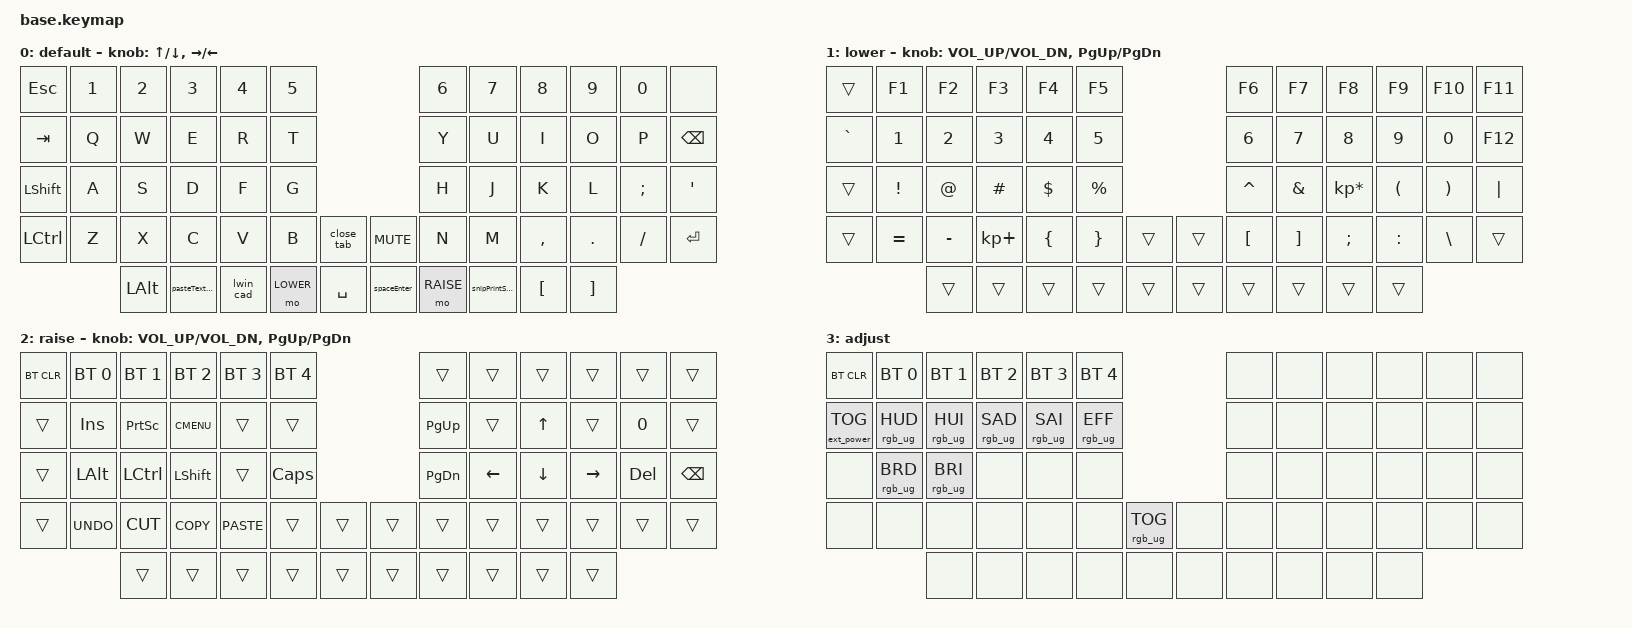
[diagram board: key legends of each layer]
/*
 * Copyright (c) 2020 The ZMK Contributors
 *
 * SPDX-License-Identifier: MIT
 */

#include <behaviors.dtsi>

// Enable mouse 启用鼠标

#include <dt-bindings/zmk/mouse.h>
#include <dt-bindings/zmk/mouse_settings.h>

// Enable Mouse Keys 启用鼠标键

#include "includes/mouse_keys.dtsi"
#include <dt-bindings/zmk/bt.h>
#include <dt-bindings/zmk/ext_power.h>
#include <dt-bindings/zmk/keys.h>
#include <dt-bindings/zmk/rgb.h>

#define BASE 0
#define LOWER 1
#define RAISE 2
#define ADJUST 3
#define MOUSE_KEYS 11
#define MOUSE_TP 12
#define MOUSE_SET 13

// ZMK includes
#include <behaviors.dtsi>
#include <dt-bindings/zmk/keys.h>
#include <dt-bindings/zmk/bt.h>
#include <dt-bindings/zmk/rgb.h>
#include <dt-bindings/zmk/ext_power.h>

// Personal includes
#ifdef HAS_MOUSE_KEYS
     #include "includes/mouse_keys.dtsi"
#endif

#ifdef HAS_MOUSE_TP
     #include "includes/mouse_tp.dtsi"
#endif

#include "includes/custom_keycodes.dtsi"
#include "includes/settings.dtsi"
//#include "includes/settings_pd.dtsi"
#include "includes/conditional_layers.dtsi"
#include "includes/macros.dtsi"
#include "includes/combos.dtsi"
#include "includes/behaviours_homerow_mods.dtsi"
#include "includes/behaviours_mod_morph.dtsi"
#include "includes/behaviours_other.dtsi"


/ {
    behaviors {
        // Mod Morph
        // RGB

        rgb_bri_sat_inc: rgb_bri_sat_inc {
            compatible = "zmk,behavior-mod-morph";
            label = "RGB_BRIGHTNESS_SATURATION_INCREASE";
            #binding-cells = <0>;
            bindings = <&rgb_ug RGB_SAI>, <&rgb_ug RGB_BRI>;

            mods = <(MOD_LALT|MOD_RALT)>;
        };

        rgb_bri_sat_dec: rgb_bri_sat_dec {
            compatible = "zmk,behavior-mod-morph";
            label = "RGB_BRIGHTNESS_SATURATION_DECREASE";
            #binding-cells = <0>;
            bindings = <&rgb_ug RGB_SAD>, <&rgb_ug RGB_BRD>;

            mods = <(MOD_LALT|MOD_RALT)>;
        };

        rgb_inc: rgb_inc {
            compatible = "zmk,behavior-mod-morph";
            label = "RGB_INCREASE";
            #binding-cells = <0>;
            bindings = <&rgb_ug RGB_HUI>, <&rgb_bri_sat_inc>;

            mods = <(MOD_LSFT|MOD_RSFT|MOD_LCTL|MOD_RCTL)>;
        };

        rgb_dec: rgb_dec {
            compatible = "zmk,behavior-mod-morph";
            label = "RGB_DECREASE";
            #binding-cells = <0>;
            bindings = <&rgb_ug RGB_HUD>, <&rgb_bri_sat_dec>;

            mods = <(MOD_LSFT|MOD_RSFT)>;
        };

        // System Functions  

        ret_menu: ret_menu {
            compatible = "zmk,behavior-mod-morph";
            label = "RETURN_MENU";
            #binding-cells = <0>;
            bindings = <&kp RET>, <&kp K_APPLICATION>;

            mods = <(MOD_LSFT|MOD_RSFT)>;
        };

        // Special Characters - Capitalizations

        fada_a: fada_a {
            compatible = "zmk,behavior-mod-morph";
            label = "FADA_A";
            #binding-cells = <0>;
            bindings = <&smfada_a>, <&lfada_a>;

            mods = <(MOD_LSFT|MOD_RSFT)>;
        };

        ogonek_a: ogonek_a {
            compatible = "zmk,behavior-mod-morph";
            label = "OGONEK_A";
            #binding-cells = <0>;
            bindings = <&smogo_a>, <&logo_a>;

            mods = <(MOD_LSFT|MOD_RSFT)>;
        };

        umlaut_a: umlaut_a {
            compatible = "zmk,behavior-mod-morph";
            label = "UMLAUT_A";
            #binding-cells = <0>;
            bindings = <&smumlaut_a>, <&lumlaut_a>;

            mods = <(MOD_LSFT|MOD_RSFT)>;
        };

        fada_e: fada_e {
            compatible = "zmk,behavior-mod-morph";
            label = "FADA_E";
            #binding-cells = <0>;
            bindings = <&smfada_e>, <&lfada_e>;

            mods = <(MOD_LSFT|MOD_RSFT)>;
        };

        ogonek_e: ogonek_e {
            compatible = "zmk,behavior-mod-morph";
            label = "OGONEK_E";
            #binding-cells = <0>;
            bindings = <&smogo_e>, <&logo_e>;

            mods = <(MOD_LSFT|MOD_RSFT)>;
        };

        fada_i: fada_i {
            compatible = "zmk,behavior-mod-morph";
            label = "FADA_I";
            #binding-cells = <0>;
            bindings = <&smfada_i>, <&lfada_i>;

            mods = <(MOD_LSFT|MOD_RSFT)>;
        };

        fada_o: fada_o {
            compatible = "zmk,behavior-mod-morph";
            label = "FADA_O";
            #binding-cells = <0>;
            bindings = <&smfada_o>, <&lfada_o>;

            mods = <(MOD_LSFT|MOD_RSFT)>;
        };

        umlaut_o: umlaut_o {
            compatible = "zmk,behavior-mod-morph";
            label = "UMLAUT_O";
            #binding-cells = <0>;
            bindings = <&smumlaut_o>, <&lumlaut_o>;

            mods = <(MOD_LSFT|MOD_RSFT)>;
        };

        fada_u: fada_u {
            compatible = "zmk,behavior-mod-morph";
            label = "FADA_U";
            #binding-cells = <0>;
            bindings = <&smfada_u>, <&lfada_u>;

            mods = <(MOD_LSFT|MOD_RSFT)>;
        };

        umlaut_u: umlaut_u {
            compatible = "zmk,behavior-mod-morph";
            label = "UMLAUT_U";
            #binding-cells = <0>;
            bindings = <&smumlaut_u>, <&lumlaut_u>;

            mods = <(MOD_LSFT|MOD_RSFT)>;
        };

        acute_c: acute_c {
            compatible = "zmk,behavior-mod-morph";
            label = "ACUTE_C";
            #binding-cells = <0>;
            bindings = <&smacute_c>, <&lacute_c>;

            mods = <(MOD_LSFT|MOD_RSFT)>;
        };

        dark_l: dark_l {
            compatible = "zmk,behavior-mod-morph";
            label = "DARK_L";
            #binding-cells = <0>;
            bindings = <&smdark_l>, <&ldark_l>;

            mods = <(MOD_LSFT|MOD_RSFT)>;
        };

        acute_n: acute_n {
            compatible = "zmk,behavior-mod-morph";
            label = "ACUTE_N";
            #binding-cells = <0>;
            bindings = <&smacute_n>, <&lacute_n>;

            mods = <(MOD_LSFT|MOD_RSFT)>;
        };

        tilde_n: tilde_n {
            compatible = "zmk,behavior-mod-morph";
            label = "TILDE_N";
            #binding-cells = <0>;
            bindings = <&smtil_n>, <&ltil_n>;

            mods = <(MOD_LSFT|MOD_RSFT)>;
        };

        acute_s: acute_s {
            compatible = "zmk,behavior-mod-morph";
            label = "ACUTE_S";
            #binding-cells = <0>;
            bindings = <&smacute_s>, <&lacute_s>;

            mods = <(MOD_LSFT|MOD_RSFT)>;
        };

        acute_z: acute_z {
            compatible = "zmk,behavior-mod-morph";
            label = "ACUTE_Z";
            #binding-cells = <0>;
            bindings = <&smacute_z>, <&lacute_z>;

            mods = <(MOD_LSFT|MOD_RSFT)>;
        };

        dot_z: dot_z {
            compatible = "zmk,behavior-mod-morph";
            label = "DOT_Z";
            #binding-cells = <0>;
            bindings = <&smdot_z>, <&ldot_z>;

            mods = <(MOD_LSFT|MOD_RSFT)>;
        };

        // Special Characters - Other

        lb_euro: lb_euro {
            compatible = "zmk,behavior-mod-morph";
            label = "POUND_EURO";
            #binding-cells = <0>;
            bindings = <&uk_pnd>, <&euro>;

            mods = <(MOD_LSFT|MOD_RSFT)>;
        };

        // Encoder

        rgb_encoder: rgb_encoder {
            compatible = "zmk,behavior-sensor-rotate";
            label = "RGB_ENCODER";
            #sensor-binding-cells = <0>;
            bindings = <&rgb_inc>, <&rgb_dec>;
        };

        tab_browser: tab_browser {
            compatible = "zmk,behavior-sensor-rotate";
            label = "TAB_BROWSER";
            #sensor-binding-cells = <0>;
            bindings = <&tab_left>, <&tab_right>;
        };

        // Tap Dance

        cc: cc {
            compatible = "zmk,behavior-tap-dance";
            label = "COLOR_CYCLE";
            #binding-cells = <0>;
            tapping-term-ms = <200>;
            bindings =
                <&rgb_ug RGB_COLOR_HSB(0,100,20)>,
                <&rgb_ug RGB_COLOR_HSB(10,100,20)>,
                <&rgb_ug RGB_COLOR_HSB(35,100,20)>,
                <&rgb_ug RGB_COLOR_HSB(120,100,20)>,
                <&rgb_ug RGB_COLOR_HSB(240,100,20)>,
                <&rgb_ug RGB_COLOR_HSB(285,100,20)>;
        };

        clcw: clcw {
            compatible = "zmk,behavior-tap-dance";
            label = "CAPS_LOCK_CAPS_WORD";
            #binding-cells = <0>;
            tapping-term-ms = <200>;
            bindings = <&kp CLCK>, <&caps_word>;
        };

        lscw: lscw {
            compatible = "zmk,behavior-tap-dance";
            label = "LEFT_SHIFT_CAPS_WORD";
            #binding-cells = <0>;
            tapping-term-ms = <200>;
            bindings = <&kp LSHFT>, <&caps_word>;
        };

        rscw: rscw {
            compatible = "zmk,behavior-tap-dance";
            label = "RIGHT_SHIFT_CAPS_WORD";
            #binding-cells = <0>;
            tapping-term-ms = <200>;
            bindings = <&kp RSHFT>, <&caps_word>;
        };

        stm: stm {
            compatible = "zmk,behavior-tap-dance";
            label = "SHIFT_TASK_MANAGER";
            #binding-cells = <0>;
            tapping-term-ms = <200>;
            bindings = <&kp LSHFT>, <&tm>;
        };

        pwr: pwr {
            compatible = "zmk,behavior-tap-dance";
            label = "POWER_COMMANDS";
            #binding-cells = <0>;
            tapping-term-ms = <200>;
            bindings = <&kp RSHFT>, <&slp>, <&rst>, <&off>;
        };

        td_btr: td_btr {
            compatible = "zmk,behavior-tap-dance";
            label = "TAP_DANCE_BLUE_TOOTH_RELEASE";
            #binding-cells = <0>;
            tapping-term-ms = <200>;
            bindings = <&kp ESC>, <&bt BT_CLR>;
        };

        pscode: pscode {
            compatible = "zmk,behavior-tap-dance";
            label = "POWER_SHELL_CODE";
            #binding-cells = <0>;
            tapping-term-ms = <200>;
            bindings = <&kp F5>, <&kp F8>;
        };

        td_ll_l3: td_ll_l3 {
            compatible = "zmk,behavior-tap-dance";
            label = "TAP_LEFT_LAYER_LAYER_3";
            #binding-cells = <0>;
            tapping-term-ms = <200>;
            bindings = <&mo 1>, <&sl 3>;
        };

        td_rl_l3: td_rl_l3 {
            compatible = "zmk,behavior-tap-dance";
            label = "TAP_RIGHT_LAYER_LAYER_3";
            #binding-cells = <0>;
            tapping-term-ms = <200>;
            bindings = <&mo 2>, <&sl 3>;
        };

        td_sp_a: td_sp_a {
            compatible = "zmk,behavior-tap-dance";
            label = "TAP_SPECIAL_A";
            #binding-cells = <0>;
            tapping-term-ms = <250>;
            bindings = <&fada_a>, <&ogonek_a>, <&umlaut_a>;
        };

        td_sp_e: td_sp_e {
            compatible = "zmk,behavior-tap-dance";
            label = "TAP_SPECIAL_E";
            #binding-cells = <0>;
            tapping-term-ms = <250>;
            bindings = <&fada_e>, <&ogonek_e>;
        };

        td_sp_o: td_sp_o {
            compatible = "zmk,behavior-tap-dance";
            label = "TAP_SPECIAL_O";
            #binding-cells = <0>;
            tapping-term-ms = <250>;
            bindings = <&fada_o>, <&umlaut_o>;
        };

        td_sp_u: td_sp_u {
            compatible = "zmk,behavior-tap-dance";
            label = "TAP_SPECIAL_U";
            #binding-cells = <0>;
            tapping-term-ms = <250>;
            bindings = <&fada_u>, <&umlaut_u>;
        };

        td_sp_n: td_sp_n {
            compatible = "zmk,behavior-tap-dance";
            label = "TAP_SPECIAL_N";
            #binding-cells = <0>;
            tapping-term-ms = <250>;
            bindings = <&acute_n>, <&tilde_n>;
        };

        td_sp_s: td_sp_s {
            compatible = "zmk,behavior-tap-dance";
            label = "TAP_SPECIAL_S";
            #binding-cells = <0>;
            tapping-term-ms = <200>;
            bindings = <&acute_s>, <&essette_s>;
        };

        td_sp_z: td_sp_z {
            compatible = "zmk,behavior-tap-dance";
            label = "TAP_SPECIAL_Z";
            #binding-cells = <0>;
            tapping-term-ms = <200>;
            bindings = <&acute_z>, <&dot_z>;
        };

        td_lt: td_lt {
            compatible = "zmk,behavior-tap-dance";
            label = "LESS_THEN_DOUBLE_LEFT_MARKS";
            #binding-cells = <0>;
            tapping-term-ms = <200>;
            bindings = <&kp LT>, <&dbl_left>;
        };

        td_gt: td_gt {
            compatible = "zmk,behavior-tap-dance";
            label = "GREATER_THAN_DOUBLE_RIGHT_MARKS";
            #binding-cells = <0>;
            tapping-term-ms = <200>;
            bindings = <&kp GT>, <&dbl_right>;
        };

        lwin_cad: lwin_cad {
            compatible = "zmk,behavior-tap-dance";
            label = "LEFT_WINDOWS_CTRL_ALT_DEL";
            #binding-cells = <0>;
            tapping-term-ms = <200>;
            bindings = <&kp LGUI>, <&cad>;
        };

        pasteTextWordPower: pasteTextWordPower {
            compatible = "zmk,behavior-tap-dance";
            label = "PASTETEXTWORDPOWER";
            #binding-cells = <0>;
            tapping-term-ms = <200>;
            bindings = <&kp RS(RC(V))>, <&pastePowerpoint>;
        };

        spaceEnter: spaceEnter {
            compatible = "zmk,behavior-tap-dance";
            label = "SPACEENTER";
            #binding-cells = <0>;
            tapping-term-ms = <200>;
            bindings = <&kp SPACE>, <&kp ENTER>;
        };

        snipPrintScreenWindows: snipPrintScreenWindows {
            compatible = "zmk,behavior-tap-dance";
            label = "SNIPPRINTSCREENWINDOWS";
            #binding-cells = <0>;
            tapping-term-ms = <200>;
            bindings = <&snipScreen>, <&kp LA(PRINTSCREEN)>;
        };
    };
};

/ {
    left_encoder: encoder_left {
        compatible = "alps,ec11";
        label = "LEFT_ENCODER";
        a-gpios = <&pro_micro 21 (GPIO_ACTIVE_HIGH | GPIO_PULL_UP)>;
        b-gpios = <&pro_micro 20 (GPIO_ACTIVE_HIGH | GPIO_PULL_UP)>;
        steps = <60>;
    };

    right_encoder: encoder_right {
        compatible = "alps,ec11";
        label = "RIGHT_ENCODER";
        a-gpios = <&pro_micro 21 (GPIO_ACTIVE_HIGH | GPIO_PULL_UP)>;
        b-gpios = <&pro_micro 20 (GPIO_ACTIVE_HIGH | GPIO_PULL_UP)>;
        steps = <60>;
    };

    sensors {
        compatible = "zmk,keymap-sensors";
        sensors = <&left_encoder &right_encoder>;
        triggers-per-rotation = <30>;
    };
};

/ {
    macros {
        // System and Power

        tm: tm {
            label = "TASK_MANAGER";
            compatible = "zmk,behavior-macro";
            #binding-cells = <0>;
            bindings =
                <&macro_press>,
                <&kp LCTRL &kp LSHFT>,
                <&macro_tap>,
                <&kp ESC>,
                <&macro_release>,
                <&kp LCTRL &kp LSHFT &kp RCTRL &kp K_SCROLL_DOWN &kp RCTRL &kp K_SCROLL_UP>;
        };

        cad: cad {
            label = "CTRL_ALT_DEL";
            compatible = "zmk,behavior-macro";
            #binding-cells = <0>;
            bindings =
                <&macro_press>,
                <&kp LCTRL &kp LALT &kp DEL>,
                <&macro_release>,
                <&kp LCTRL &kp LALT &kp DEL>;
        };

        slp: slp {
            label = "SLEEP";
            compatible = "zmk,behavior-macro";
            #binding-cells = <0>;
            bindings =
                <&macro_press>,
                <&kp LGUI>,
                <&macro_tap>,
                <&kp X>,
                <&macro_release>,
                <&kp LGUI>,
                <&macro_tap>,
                <&kp U &kp S>;
        };

        rst: rst {
            label = "RESTART";
            compatible = "zmk,behavior-macro";
            #binding-cells = <0>;
            bindings =
                <&macro_press>,
                <&kp LGUI>,
                <&macro_tap>,
                <&kp X>,
                <&macro_release>,
                <&kp LGUI>,
                <&macro_tap>,
                <&kp U &kp R>;
        };

        off: off {
            label = "SHUTDOWN";
            compatible = "zmk,behavior-macro";
            #binding-cells = <0>;
            bindings =
                <&macro_press>,
                <&kp LGUI>,
                <&macro_tap>,
                <&kp X>,
                <&macro_release>,
                <&kp LGUI>,
                <&macro_tap>,
                <&kp U &kp U>;
        };

        // Microphones

        teams_mute: teams_mute {
            label = "TEAMS_MUTE";
            compatible = "zmk,behavior-macro";
            #binding-cells = <0>;
            tap-ms = <0>;
            wait-ms = <0>;
            bindings =
                <&macro_tap>,
                <&bt BT_SEL 1>,
                <&macro_wait_time 100>,
                <&macro_press>,
                <&kp LGUI>,
                <&macro_tap>,
                <&kp N3>,
                <&macro_release>,
                <&kp LGUI>,
                <&macro_wait_time 50>,
                <&macro_press>,
                <&kp LCTRL &kp LSHFT>,
                <&macro_tap>,
                <&kp M>,
                <&macro_release>,
                <&kp LCTRL &kp LSHFT>;
        };

        // Browser Controls

        tab_right: tab_right {
            label = "TAB_RIGHT";
            compatible = "zmk,behavior-macro";
            #binding-cells = <0>;
            wait-ms = <0>;
            tap-ms = <0>;
            bindings =
                <&macro_press>,
                <&kp LCTRL>,
                <&macro_tap>,
                <&kp TAB>,
                <&macro_release>,
                <&kp LCTRL>;
        };

        tab_left: tab_left {
            label = "TAB_LEFT";
            compatible = "zmk,behavior-macro";
            #binding-cells = <0>;
            wait-ms = <0>;
            tap-ms = <0>;
            bindings =
                <&macro_press>,
                <&kp LCTRL &kp LSHFT>,
                <&macro_tap>,
                <&kp TAB>,
                <&macro_release>,
                <&kp LCTRL &kp LSHFT>;
        };

        close_tab: close_tab {
            label = "CLOSE_TAB";
            compatible = "zmk,behavior-macro";
            #binding-cells = <0>;
            wait-ms = <0>;
            tap-ms = <0>;
            bindings =
                <&macro_press>,
                <&kp LCTRL>,
                <&macro_tap>,
                <&kp W>,
                <&macro_release>,
                <&kp LCTRL>;
        };

        //Unicode Special Characters
        //Need regkey HKEY_CURRENT_USER\Control Panel\Input Method, REG_SZ EnableHexNumpad = 1
        //Symbols       

        smfada_a: smfada_a {
            label = "SMALL_FADA_A";
            compatible = "zmk,behavior-macro";
            #binding-cells = <0>;
            tap-ms = <0>;
            wait-ms = <0>;
            bindings =
                <&macro_press>,
                <&kp LALT>,
                <&macro_tap>,
                <&kp KP_PLUS &kp KP_N0 &kp KP_N0 &kp E &kp KP_N1>,
                <&macro_release>,
                <&kp LALT>;
        };

        lfada_a: lfada_a {
            label = "LARGE_FADA_A";
            compatible = "zmk,behavior-macro";
            #binding-cells = <0>;
            tap-ms = <0>;
            wait-ms = <0>;
            bindings =
                <&macro_press>,
                <&kp LALT>,
                <&macro_tap>,
                <&kp KP_PLUS &kp KP_N0 &kp KP_N0 &kp C &kp KP_N1>,
                <&macro_release>,
                <&kp LALT>;
        };

        smumlaut_a: smumlaut_a {
            label = "SMALL_UMLAUT_A";
            compatible = "zmk,behavior-macro";
            #binding-cells = <0>;
            tap-ms = <0>;
            wait-ms = <0>;
            bindings =
                <&macro_press>,
                <&kp LALT>,
                <&macro_tap>,
                <&kp KP_PLUS &kp KP_N0 &kp KP_N0 &kp E &kp KP_N4>,
                <&macro_release>,
                <&kp LALT>;
        };

        lumlaut_a: lumlaut_a {
            label = "LARGE_UMLAUT_A";
            compatible = "zmk,behavior-macro";
            #binding-cells = <0>;
            tap-ms = <0>;
            wait-ms = <0>;
            bindings =
                <&macro_press>,
                <&kp LALT>,
                <&macro_tap>,
                <&kp KP_PLUS &kp KP_N0 &kp KP_N0 &kp C &kp KP_N4>,
                <&macro_release>,
                <&kp LALT>;
        };

        smlat_ae: smlat_ae {
            label = "SMALL_LATIN_AE";
            compatible = "zmk,behavior-macro";
            #binding-cells = <0>;
            tap-ms = <0>;
            wait-ms = <0>;
            bindings =
                <&macro_press>,
                <&kp LALT>,
                <&macro_tap>,
                <&kp KP_PLUS &kp KP_N0 &kp KP_N0 &kp E &kp KP_N6>,
                <&macro_release>,
                <&kp LALT>;
        };

        lglat_ae: lglat_ae {
            label = "LARGE_LATIN_AE";
            compatible = "zmk,behavior-macro";
            #binding-cells = <0>;
            tap-ms = <0>;
            wait-ms = <0>;
            bindings =
                <&macro_press>,
                <&kp LALT>,
                <&macro_tap>,
                <&kp KP_PLUS &kp KP_N0 &kp KP_N0 &kp C &kp KP_N6>,
                <&macro_release>,
                <&kp LALT>;
        };

        smfada_e: smfada_e {
            label = "SMALL_FADA_E";
            compatible = "zmk,behavior-macro";
            #binding-cells = <0>;
            tap-ms = <0>;
            wait-ms = <0>;
            bindings =
                <&macro_press>,
                <&kp LALT>,
                <&macro_tap>,
                <&kp KP_PLUS &kp KP_N0 &kp KP_N0 &kp E &kp KP_N9>,
                <&macro_release>,
                <&kp LALT>;
        };

        lfada_e: lfada_e {
            label = "LARGE_FADA_E";
            compatible = "zmk,behavior-macro";
            #binding-cells = <0>;
            tap-ms = <0>;
            wait-ms = <0>;
            bindings =
                <&macro_press>,
                <&kp LALT>,
                <&macro_tap>,
                <&kp KP_PLUS &kp KP_N0 &kp KP_N0 &kp C &kp KP_N9>,
                <&macro_release>,
                <&kp LALT>;
        };

        smfada_i: smfada_i {
            label = "SMALL_FADA_I";
            compatible = "zmk,behavior-macro";
            #binding-cells = <0>;
            tap-ms = <0>;
            wait-ms = <0>;
            bindings =
                <&macro_press>,
                <&kp LALT>,
                <&macro_tap>,
                <&kp KP_PLUS &kp KP_N0 &kp KP_N0 &kp E &kp D>,
                <&macro_release>,
                <&kp LALT>;
        };

        lfada_i: lfada_i {
            label = "LARGE_FADA_I";
            compatible = "zmk,behavior-macro";
            #binding-cells = <0>;
            tap-ms = <0>;
            wait-ms = <0>;
            bindings =
                <&macro_press>,
                <&kp LALT>,
                <&macro_tap>,
                <&kp KP_PLUS &kp KP_N0 &kp KP_N0 &kp C &kp D>,
                <&macro_release>,
                <&kp LALT>;
        };

        smfada_o: smfada_o {
            label = "SMALL_FADA_O";
            compatible = "zmk,behavior-macro";
            #binding-cells = <0>;
            tap-ms = <0>;
            wait-ms = <0>;
            bindings =
                <&macro_press>,
                <&kp LALT>,
                <&macro_tap>,
                <&kp KP_PLUS &kp KP_N0 &kp KP_N0 &kp F &kp KP_N3>,
                <&macro_release>,
                <&kp LALT>;
        };

        lfada_o: lfada_o {
            label = "LARGE_FADA_O";
            compatible = "zmk,behavior-macro";
            #binding-cells = <0>;
            tap-ms = <0>;
            wait-ms = <0>;
            bindings =
                <&macro_press>,
                <&kp LALT>,
                <&macro_tap>,
                <&kp KP_PLUS &kp KP_N0 &kp KP_N0 &kp D &kp KP_N3>,
                <&macro_release>,
                <&kp LALT>;
        };

        smumlaut_o: smumlaut_o {
            label = "SMALL_UMLAUT_O";
            compatible = "zmk,behavior-macro";
            #binding-cells = <0>;
            tap-ms = <0>;
            wait-ms = <0>;
            bindings =
                <&macro_press>,
                <&kp LALT>,
                <&macro_tap>,
                <&kp KP_PLUS &kp KP_N0 &kp KP_N0 &kp F &kp KP_N6>,
                <&macro_release>,
                <&kp LALT>;
        };

        lumlaut_o: lumlaut_o {
            label = "LARGE_UMLAUT_O";
            compatible = "zmk,behavior-macro";
            #binding-cells = <0>;
            tap-ms = <0>;
            wait-ms = <0>;
            bindings =
                <&macro_press>,
                <&kp LALT>,
                <&macro_tap>,
                <&kp KP_PLUS &kp KP_N0 &kp KP_N0 &kp D &kp KP_N6>,
                <&macro_release>,
                <&kp LALT>;
        };

        smfada_u: smfada_u {
            label = "SMALL_FADA_U";
            compatible = "zmk,behavior-macro";
            #binding-cells = <0>;
            tap-ms = <0>;
            wait-ms = <0>;
            bindings =
                <&macro_press>,
                <&kp LALT>,
                <&macro_tap>,
                <&kp KP_PLUS &kp KP_N0 &kp KP_N0 &kp F &kp A>,
                <&macro_release>,
                <&kp LALT>;
        };

        lfada_u: lfada_u {
            label = "LARGE_FADA_U";
            compatible = "zmk,behavior-macro";
            #binding-cells = <0>;
            tap-ms = <0>;
            wait-ms = <0>;
            bindings =
                <&macro_press>,
                <&kp LALT>,
                <&macro_tap>,
                <&kp KP_PLUS &kp KP_N0 &kp KP_N0 &kp D &kp A>,
                <&macro_release>,
                <&kp LALT>;
        };

        smumlaut_u: smumlaut_u {
            label = "SMALL_UMLAUT_U";
            compatible = "zmk,behavior-macro";
            #binding-cells = <0>;
            tap-ms = <0>;
            wait-ms = <0>;
            bindings =
                <&macro_press>,
                <&kp LALT>,
                <&macro_tap>,
                <&kp KP_PLUS &kp KP_N0 &kp KP_N0 &kp F &kp C>,
                <&macro_release>,
                <&kp LALT>;
        };

        lumlaut_u: lumlaut_u {
            label = "LARGE_UMLAUT_U";
            compatible = "zmk,behavior-macro";
            #binding-cells = <0>;
            tap-ms = <0>;
            wait-ms = <0>;
            bindings =
                <&macro_press>,
                <&kp LALT>,
                <&macro_tap>,
                <&kp KP_PLUS &kp KP_N0 &kp KP_N0 &kp D &kp C>,
                <&macro_release>,
                <&kp LALT>;
        };

        smtil_n: smtil_n {
            label = "SMALL_TILDE_N";
            compatible = "zmk,behavior-macro";
            #binding-cells = <0>;
            tap-ms = <0>;
            wait-ms = <0>;
            bindings =
                <&macro_press>,
                <&kp LALT>,
                <&macro_tap>,
                <&kp KP_PLUS &kp KP_N0 &kp KP_N0 &kp F &kp KP_N1>,
                <&macro_release>,
                <&kp LALT>;
        };

        ltil_n: ltil_n {
            label = "LARGE_TILDE_N";
            compatible = "zmk,behavior-macro";
            #binding-cells = <0>;
            tap-ms = <0>;
            wait-ms = <0>;
            bindings =
                <&macro_press>,
                <&kp LALT>,
                <&macro_tap>,
                <&kp KP_PLUS &kp KP_N0 &kp KP_N0 &kp D &kp KP_N1>,
                <&macro_release>,
                <&kp LALT>;
        };

        essette_s: essette_s {
            label = "ESSETTE_S";
            compatible = "zmk,behavior-macro";
            #binding-cells = <0>;
            tap-ms = <0>;
            wait-ms = <0>;
            bindings =
                <&macro_press>,
                <&kp LALT>,
                <&macro_tap>,
                <&kp KP_PLUS &kp KP_N0 &kp KP_N0 &kp D &kp F>,
                <&macro_release>,
                <&kp LALT>;
        };

        euro: euro {
            label = "EURO";
            compatible = "zmk,behavior-macro";
            #binding-cells = <0>;
            tap-ms = <0>;
            wait-ms = <0>;
            bindings =
                <&macro_press>,
                <&kp LALT>,
                <&macro_tap>,
                <&kp KP_PLUS &kp KP_N2 &kp KP_N0 &kp A &kp C>,
                <&macro_release>,
                <&kp LALT>;
        };

        us_cent: us_cent {
            label = "US_CENT";
            compatible = "zmk,behavior-macro";
            #binding-cells = <0>;
            tap-ms = <0>;
            wait-ms = <0>;
            bindings =
                <&macro_press>,
                <&kp LALT>,
                <&macro_tap>,
                <&kp KP_PLUS &kp KP_N0 &kp KP_N0 &kp A &kp KP_N2>,
                <&macro_release>,
                <&kp LALT>;
        };

        uk_pnd: uk_pnd {
            label = "UK_POUND";
            compatible = "zmk,behavior-macro";
            #binding-cells = <0>;
            tap-ms = <0>;
            wait-ms = <0>;
            bindings =
                <&macro_press>,
                <&kp LALT>,
                <&macro_tap>,
                <&kp KP_PLUS &kp KP_N0 &kp KP_N0 &kp A &kp KP_N3>,
                <&macro_release>,
                <&kp LALT>;
        };

        degree: degree {
            label = "DEGREE_SIGN";
            compatible = "zmk,behavior-macro";
            #binding-cells = <0>;
            tap-ms = <0>;
            wait-ms = <0>;
            bindings =
                <&macro_press>,
                <&kp LALT>,
                <&macro_tap>,
                <&kp KP_PLUS &kp KP_N0 &kp KP_N0 &kp B &kp KP_N0>,
                <&macro_release>,
                <&kp LALT>;
        };

        inv_exc: inv_exc {
            label = "INVERTED_EXCLAMATION_MARK";
            compatible = "zmk,behavior-macro";
            #binding-cells = <0>;
            tap-ms = <0>;
            wait-ms = <0>;
            bindings =
                <&macro_press>,
                <&kp LALT>,
                <&macro_tap>,
                <&kp KP_PLUS &kp KP_N0 &kp KP_N0 &kp A &kp KP_N1>,
                <&macro_release>,
                <&kp LALT>;
        };

        inv_ques: inv_ques {
            label = "INVERTED_QUESTION_MARK";
            compatible = "zmk,behavior-macro";
            #binding-cells = <0>;
            tap-ms = <0>;
            wait-ms = <0>;
            bindings =
                <&macro_press>,
                <&kp LALT>,
                <&macro_tap>,
                <&kp KP_PLUS &kp KP_N0 &kp KP_N0 &kp B &kp F>,
                <&macro_release>,
                <&kp LALT>;
        };

        plus_min: plus_min {
            label = "PLUS_MINUS_SIGN";
            compatible = "zmk,behavior-macro";
            #binding-cells = <0>;
            tap-ms = <0>;
            wait-ms = <0>;
            bindings =
                <&macro_press>,
                <&kp LALT>,
                <&macro_tap>,
                <&kp KP_PLUS &kp KP_N0 &kp KP_N0 &kp B &kp KP_N1>,
                <&macro_release>,
                <&kp LALT>;
        };

        //IPA

        schwa: schwa {
            label = "SCHWA";
            compatible = "zmk,behavior-macro";
            #binding-cells = <0>;
            tap-ms = <0>;
            wait-ms = <0>;
            bindings =
                <&macro_press>,
                <&kp LALT>,
                <&macro_tap>,
                <&kp KP_PLUS &kp KP_N0 &kp KP_N2 &kp KP_N5 &kp KP_N9>,
                <&macro_release>,
                <&kp LALT>;
        };

        //Diacritical Characters

        smogo_a: smogo_a {
            label = "SMALL_OGONEK_A";
            compatible = "zmk,behavior-macro";
            #binding-cells = <0>;
            tap-ms = <0>;
            wait-ms = <0>;
            bindings =
                <&macro_press>,
                <&kp LALT>,
                <&macro_tap>,
                <&kp KP_PLUS &kp KP_N0 &kp KP_N1 &kp KP_N0 &kp KP_N5>,
                <&macro_release>,
                <&kp LALT>;
        };

        logo_a: logo_a {
            label = "LARGE_OGONEK_A";
            compatible = "zmk,behavior-macro";
            #binding-cells = <0>;
            tap-ms = <0>;
            wait-ms = <0>;
            bindings =
                <&macro_press>,
                <&kp LALT>,
                <&macro_tap>,
                <&kp KP_PLUS &kp KP_N0 &kp KP_N1 &kp KP_N0 &kp KP_N4>,
                <&macro_release>,
                <&kp LALT>;
        };

        smogo_e: smogo_e {
            label = "SMALL_OGONEK_E";
            compatible = "zmk,behavior-macro";
            #binding-cells = <0>;
            tap-ms = <0>;
            wait-ms = <0>;
            bindings =
                <&macro_press>,
                <&kp LALT>,
                <&macro_tap>,
                <&kp KP_PLUS &kp KP_N0 &kp KP_N1 &kp KP_N1 &kp KP_N9>,
                <&macro_release>,
                <&kp LALT>;
        };

        logo_e: logo_e {
            label = "LARGE_OGONEK_E";
            compatible = "zmk,behavior-macro";
            #binding-cells = <0>;
            tap-ms = <0>;
            wait-ms = <0>;
            bindings =
                <&macro_press>,
                <&kp LALT>,
                <&macro_tap>,
                <&kp KP_PLUS &kp KP_N0 &kp KP_N1 &kp KP_N1 &kp KP_N8>,
                <&macro_release>,
                <&kp LALT>;
        };

        smacute_c: smacute_c {
            label = "SMALL_ACUTE_C";
            compatible = "zmk,behavior-macro";
            #binding-cells = <0>;
            tap-ms = <0>;
            wait-ms = <0>;
            bindings =
                <&macro_press>,
                <&kp LALT>,
                <&macro_tap>,
                <&kp KP_PLUS &kp KP_N0 &kp KP_N1 &kp KP_N0 &kp KP_N7>,
                <&macro_release>,
                <&kp LALT>;
        };

        lacute_c: lacute_c {
            label = "LARGE_ACUTE_C";
            compatible = "zmk,behavior-macro";
            #binding-cells = <0>;
            tap-ms = <0>;
            wait-ms = <0>;
            bindings =
                <&macro_press>,
                <&kp LALT>,
                <&macro_tap>,
                <&kp KP_PLUS &kp KP_N0 &kp KP_N1 &kp KP_N0 &kp KP_N6>,
                <&macro_release>,
                <&kp LALT>;
        };

        smdark_l: smdark_l {
            label = "SMALL_DARK_L";
            compatible = "zmk,behavior-macro";
            #binding-cells = <0>;
            tap-ms = <0>;
            wait-ms = <0>;
            bindings =
                <&macro_press>,
                <&kp LALT>,
                <&macro_tap>,
                <&kp KP_PLUS &kp KP_N0 &kp KP_N1 &kp KP_N4 &kp KP_N2>,
                <&macro_release>,
                <&kp LALT>;
        };

        ldark_l: ldark_l {
            label = "LARGE_DARK_L";
            compatible = "zmk,behavior-macro";
            #binding-cells = <0>;
            tap-ms = <0>;
            wait-ms = <0>;
            bindings =
                <&macro_press>,
                <&kp LALT>,
                <&macro_tap>,
                <&kp KP_PLUS &kp KP_N0 &kp KP_N1 &kp KP_N4 &kp KP_N1>,
                <&macro_release>,
                <&kp LALT>;
        };

        smacute_n: smacute_n {
            label = "SMALL_ACUTE_N";
            compatible = "zmk,behavior-macro";
            #binding-cells = <0>;
            tap-ms = <0>;
            wait-ms = <0>;
            bindings =
                <&macro_press>,
                <&kp LALT>,
                <&macro_tap>,
                <&kp KP_PLUS &kp KP_N0 &kp KP_N1 &kp KP_N4 &kp KP_N4>,
                <&macro_release>,
                <&kp LALT>;
        };

        lacute_n: lacute_n {
            label = "LARGE_ACUTE_N";
            compatible = "zmk,behavior-macro";
            #binding-cells = <0>;
            tap-ms = <0>;
            wait-ms = <0>;
            bindings =
                <&macro_press>,
                <&kp LALT>,
                <&macro_tap>,
                <&kp KP_PLUS &kp KP_N0 &kp KP_N1 &kp KP_N4 &kp KP_N3>,
                <&macro_release>,
                <&kp LALT>;
        };

        smacute_s: smacute_s {
            label = "SMALL_ACUTE_S";
            compatible = "zmk,behavior-macro";
            #binding-cells = <0>;
            tap-ms = <0>;
            wait-ms = <0>;
            bindings =
                <&macro_press>,
                <&kp LALT>,
                <&macro_tap>,
                <&kp KP_PLUS &kp KP_N0 &kp KP_N1 &kp KP_N5 &kp B>,
                <&macro_release>,
                <&kp LALT>;
        };

        lacute_s: lacute_s {
            label = "LARGE_ACUTE_S";
            compatible = "zmk,behavior-macro";
            #binding-cells = <0>;
            tap-ms = <0>;
            wait-ms = <0>;
            bindings =
                <&macro_press>,
                <&kp LALT>,
                <&macro_tap>,
                <&kp KP_PLUS &kp KP_N0 &kp KP_N1 &kp KP_N5 &kp A>,
                <&macro_release>,
                <&kp LALT>;
        };

        smacute_z: smacute_z {
            label = "SMALL_ACUTE_Z";
            compatible = "zmk,behavior-macro";
            #binding-cells = <0>;
            tap-ms = <0>;
            wait-ms = <0>;
            bindings =
                <&macro_press>,
                <&kp LALT>,
                <&macro_tap>,
                <&kp KP_PLUS &kp KP_N0 &kp KP_N1 &kp KP_N7 &kp A>,
                <&macro_release>,
                <&kp LALT>;
        };

        lacute_z: lacute_z {
            label = "LARGE_ACUTE_Z";
            compatible = "zmk,behavior-macro";
            #binding-cells = <0>;
            tap-ms = <0>;
            wait-ms = <0>;
            bindings =
                <&macro_press>,
                <&kp LALT>,
                <&macro_tap>,
                <&kp KP_PLUS &kp KP_N0 &kp KP_N1 &kp KP_N7 &kp KP_N9>,
                <&macro_release>,
                <&kp LALT>;
        };

        smdot_z: smdot_z {
            label = "SMALL_DOT_Z";
            compatible = "zmk,behavior-macro";
            #binding-cells = <0>;
            tap-ms = <0>;
            wait-ms = <0>;
            bindings =
                <&macro_press>,
                <&kp LALT>,
                <&macro_tap>,
                <&kp KP_PLUS &kp KP_N0 &kp KP_N1 &kp KP_N7 &kp C>,
                <&macro_release>,
                <&kp LALT>;
        };

        ldot_z: ldot_z {
            label = "LARGE_DOT_Z";
            compatible = "zmk,behavior-macro";
            #binding-cells = <0>;
            tap-ms = <0>;
            wait-ms = <0>;
            bindings =
                <&macro_press>,
                <&kp LALT>,
                <&macro_tap>,
                <&kp KP_PLUS &kp KP_N0 &kp KP_N1 &kp KP_N7 &kp B>,
                <&macro_release>,
                <&kp LALT>;
        };

        // Fractions

        one_half: one_half {
            label = "ONE_HALF";
            compatible = "zmk,behavior-macro";
            #binding-cells = <0>;
            tap-ms = <0>;
            wait-ms = <0>;
            bindings =
                <&macro_press>,
                <&kp LALT>,
                <&macro_tap>,
                <&kp KP_PLUS &kp KP_N0 &kp KP_N0 &kp B &kp D>,
                <&macro_release>,
                <&kp LALT>;
        };

        one_third: one_third {
            label = "ONE_THIRD";
            compatible = "zmk,behavior-macro";
            #binding-cells = <0>;
            tap-ms = <0>;
            wait-ms = <0>;
            bindings =
                <&macro_press>,
                <&kp LALT>,
                <&macro_tap>,
                <&kp KP_PLUS &kp KP_N2 &kp KP_N1 &kp KP_N5 &kp KP_N3>,
                <&macro_release>,
                <&kp LALT>;
        };

        one_fourth: one_fourth {
            label = "ONE_FOURTH";
            compatible = "zmk,behavior-macro";
            #binding-cells = <0>;
            tap-ms = <0>;
            wait-ms = <0>;
            bindings =
                <&macro_press>,
                <&kp LALT>,
                <&macro_tap>,
                <&kp KP_PLUS &kp KP_N0 &kp KP_N0 &kp B &kp C>,
                <&macro_release>,
                <&kp LALT>;
        };

        one_eighth: one_eighth {
            label = "ONE_EIGHTH";
            compatible = "zmk,behavior-macro";
            #binding-cells = <0>;
            tap-ms = <0>;
            wait-ms = <0>;
            bindings =
                <&macro_press>,
                <&kp LALT>,
                <&macro_tap>,
                <&kp KP_PLUS &kp KP_N2 &kp KP_N1 &kp KP_N5 &kp B>,
                <&macro_release>,
                <&kp LALT>;
        };

        two_thirds: two_thirds {
            label = "TWO_THIRDS";
            compatible = "zmk,behavior-macro";
            #binding-cells = <0>;
            tap-ms = <0>;
            wait-ms = <0>;
            bindings =
                <&macro_press>,
                <&kp LALT>,
                <&macro_tap>,
                <&kp KP_PLUS &kp KP_N2 &kp KP_N1 &kp KP_N5 &kp KP_N4>,
                <&macro_release>,
                <&kp LALT>;
        };

        three_fourths: three_fourths {
            label = "THREE_FOURTHS";
            compatible = "zmk,behavior-macro";
            #binding-cells = <0>;
            tap-ms = <0>;
            wait-ms = <0>;
            bindings =
                <&macro_press>,
                <&kp LALT>,
                <&macro_tap>,
                <&kp KP_PLUS &kp KP_N0 &kp KP_N0 &kp B &kp E>,
                <&macro_release>,
                <&kp LALT>;
        };

        three_eighths: three_eighths {
            label = "THREE_EIGHTHS";
            compatible = "zmk,behavior-macro";
            #binding-cells = <0>;
            tap-ms = <0>;
            wait-ms = <0>;
            bindings =
                <&macro_press>,
                <&kp LALT>,
                <&macro_tap>,
                <&kp KP_PLUS &kp KP_N2 &kp KP_N1 &kp KP_N5 &kp C>,
                <&macro_release>,
                <&kp LALT>;
        };

        five_eighths: five_eighths {
            label = "FIVE_EIGHTHS";
            compatible = "zmk,behavior-macro";
            #binding-cells = <0>;
            tap-ms = <0>;
            wait-ms = <0>;
            bindings =
                <&macro_press>,
                <&kp LALT>,
                <&macro_tap>,
                <&kp KP_PLUS &kp KP_N2 &kp KP_N1 &kp KP_N5 &kp D>,
                <&macro_release>,
                <&kp LALT>;
        };

        seven_eighths: seven_eighths {
            label = "SEVEN_EIGHTHS";
            compatible = "zmk,behavior-macro";
            #binding-cells = <0>;
            tap-ms = <0>;
            wait-ms = <0>;
            bindings =
                <&macro_press>,
                <&kp LALT>,
                <&macro_tap>,
                <&kp KP_PLUS &kp KP_N2 &kp KP_N1 &kp KP_N5 &kp E>,
                <&macro_release>,
                <&kp LALT>;
        };

        // Operators

        less_equ: less_equ {
            label = "LESS_THEN_OR_EQUAL_TO";
            compatible = "zmk,behavior-macro";
            #binding-cells = <0>;
            tap-ms = <0>;
            wait-ms = <0>;
            bindings =
                <&macro_press>,
                <&kp LALT>,
                <&macro_tap>,
                <&kp KP_PLUS &kp KP_N2 &kp KP_N2 &kp KP_N6 &kp KP_N4>,
                <&macro_release>,
                <&kp LALT>;
        };

        gtr_equ: gtr_equ {
            label = "GREATER_THEN_OR_EQUAL_TO";
            compatible = "zmk,behavior-macro";
            #binding-cells = <0>;
            tap-ms = <0>;
            wait-ms = <0>;
            bindings =
                <&macro_press>,
                <&kp LALT>,
                <&macro_tap>,
                <&kp KP_PLUS &kp KP_N2 &kp KP_N2 &kp KP_N6 &kp KP_N5>,
                <&macro_release>,
                <&kp LALT>;
        };

        not_equ: not_equ {
            label = "DOES_NOT_EQUAL";
            compatible = "zmk,behavior-macro";
            #binding-cells = <0>;
            tap-ms = <0>;
            wait-ms = <0>;
            bindings =
                <&macro_press>,
                <&kp LALT>,
                <&macro_tap>,
                <&kp KP_PLUS &kp KP_N2 &kp KP_N2 &kp KP_N6 &kp KP_N0>,
                <&macro_release>,
                <&kp LALT>;
        };

        alm_equ: alm_equ {
            label = "ALMOST_EQUAL";
            compatible = "zmk,behavior-macro";
            #binding-cells = <0>;
            tap-ms = <0>;
            wait-ms = <0>;
            bindings =
                <&macro_press>,
                <&kp LALT>,
                <&macro_tap>,
                <&kp KP_PLUS &kp KP_N2 &kp KP_N2 &kp KP_N4 &kp KP_N8>,
                <&macro_release>,
                <&kp LALT>;
        };

        dbl_left: dbl_left {
            label = "DOUBLE_LEFT_MARKS";
            compatible = "zmk,behavior-macro";
            #binding-cells = <0>;
            tap-ms = <0>;
            wait-ms = <0>;
            bindings =
                <&macro_press>,
                <&kp LALT>,
                <&macro_tap>,
                <&kp KP_PLUS &kp KP_N0 &kp KP_N0 &kp A &kp B>,
                <&macro_release>,
                <&kp LALT>;
        };

        dbl_right: dbl_right {
            label = "DOUBLE_RIGHT_MARKS";
            compatible = "zmk,behavior-macro";
            #binding-cells = <0>;
            tap-ms = <0>;
            wait-ms = <0>;
            bindings =
                <&macro_press>,
                <&kp LALT>,
                <&macro_tap>,
                <&kp KP_PLUS &kp KP_N0 &kp KP_N0 &kp B &kp B>,
                <&macro_release>,
                <&kp LALT>;
        };

        zoomin: zoomin {
            compatible = "zmk,behavior-macro";
            #binding-cells = <0>;
            bindings =
                <&macro_press>,
                <&kp RCTRL>,
                <&macro_tap>,
                <&kp PLUS>,
                <&macro_release>,
                <&kp RCTRL>;

            label = "ZOOMIN";
        };

        zoomout: zoomout {
            compatible = "zmk,behavior-macro";
            #binding-cells = <0>;
            bindings =
                <&macro_press>,
                <&kp RCTRL>,
                <&macro_tap>,
                <&kp MINUS>,
                <&macro_release>,
                <&kp RCTRL>;

            label = "ZOOMOUT";
        };

        selectUp: selectUp {
            compatible = "zmk,behavior-macro";
            #binding-cells = <0>;
            bindings =
                <&macro_press>,
                <&kp LEFT_SHIFT>,
                <&macro_tap>,
                <&kp UP_ARROW>,
                <&macro_release>,
                <&kp LEFT_SHIFT>;

            label = "SELECTUP";
        };

        selectDown: selectDown {
            compatible = "zmk,behavior-macro";
            #binding-cells = <0>;
            bindings =
                <&macro_press>,
                <&kp LEFT_SHIFT>,
                <&macro_tap>,
                <&kp DOWN_ARROW>,
                <&macro_release>,
                <&kp LEFT_SHIFT>;

            label = "SELECTDOWN";
        };

        selectLeft: selectLeft {
            compatible = "zmk,behavior-macro";
            #binding-cells = <0>;
            bindings =
                <&macro_press>,
                <&kp LEFT_SHIFT>,
                <&macro_tap>,
                <&kp LEFT_ARROW>,
                <&macro_release>,
                <&kp LEFT_SHIFT>;

            label = "SELECTLEFT";
        };

        selectRight: selectRight {
            compatible = "zmk,behavior-macro";
            #binding-cells = <0>;
            bindings =
                <&macro_press>,
                <&kp LEFT_SHIFT>,
                <&macro_tap>,
                <&kp RIGHT_ARROW>,
                <&macro_release>,
                <&kp LEFT_SHIFT>;

            label = "SELECTRIGHT";
        };

        selectLeftWord: selectLeftWord {
            compatible = "zmk,behavior-macro";
            #binding-cells = <0>;
            bindings =
                <&macro_press>,
                <&kp LEFT_SHIFT &kp RCTRL>,
                <&macro_tap>,
                <&kp LEFT_ARROW>,
                <&macro_release>,
                <&kp LEFT_SHIFT &kp RCTRL>;

            label = "SELECTLEFTWORD";
        };

        selectRightWord: selectRightWord {
            compatible = "zmk,behavior-macro";
            #binding-cells = <0>;
            bindings =
                <&macro_press>,
                <&kp LEFT_SHIFT &kp RCTRL>,
                <&macro_tap>,
                <&kp RIGHT_ARROW>,
                <&macro_release>,
                <&kp LEFT_SHIFT &kp RCTRL>;

            label = "SELECTRIGHTWORD";
        };

        pasteTextOnly: pasteTextOnly {
            compatible = "zmk,behavior-macro";
            #binding-cells = <0>;
            bindings =
                <&macro_press>,
                <&kp LEFT_SHIFT &kp RCTRL>,
                <&macro_tap>,
                <&kp V>,
                <&macro_release>,
                <&kp LEFT_SHIFT &kp RCTRL>;

            label = "PASTETEXTONLY";
        };

        snipScreen: snipScreen {
            compatible = "zmk,behavior-macro";
            #binding-cells = <0>;
            bindings =
                <&macro_press>,
                <&kp LS(LEFT_WIN)>,
                <&macro_tap>,
                <&kp S>,
                <&macro_release>,
                <&kp LS(LEFT_WIN)>;

            label = "SNIPSCREEN";
        };

        pastePowerpoint: pastePowerpoint {
            compatible = "zmk,behavior-macro";
            #binding-cells = <0>;
            bindings =
                <&macro_press>,
                <&kp LEFT_ALT>,
                <&macro_tap>,
                <&kp H>,
                <&macro_tap>,
                <&kp V>,
                <&macro_tap>,
                <&kp T>,
                <&macro_release>,
                <&kp LEFT_ALT>;

            label = "PASTEPOWERPOINT";
            wait-ms = <1>;
            tap-ms = <1>;
        };
    };
};

//Combos, note that key listing is zero indexed
//lshift: 36
//rshift: 49

/ {
    combos {
        compatible = "zmk,combos";

        // Characters

        combo_sm_lat_ae {
            timeout-ms = <200>;
            layers = <3>;
            key-positions = <15 25>;
            bindings = <&smlat_ae>;
        };

        combo_lg_lat_ae {
            timeout-ms = <200>;
            layers = <3>;
            key-positions = <15 25 49>;
            bindings = <&lglat_ae>;
        };

        // Fractions

        combo_one_half {
            timeout-ms = <20>;
            layers = <0>;
            key-positions = <1 2>;
            bindings = <&one_half>;
        };

        combo_one_third {
            timeout-ms = <20>;
            layers = <0>;
            key-positions = <1 3>;
            bindings = <&one_third>;
        };

        combo_one_fourth {
            timeout-ms = <20>;
            layers = <0>;
            key-positions = <1 4>;
            bindings = <&one_fourth>;
        };

        combo_one_eighth {
            timeout-ms = <20>;
            layers = <0>;
            key-positions = <1 8>;
            bindings = <&one_eighth>;
        };

        combo_two_thirds {
            timeout-ms = <20>;
            layers = <0>;
            key-positions = <2 3>;
            bindings = <&two_thirds>;
        };

        combo_three_fourths {
            timeout-ms = <20>;
            layers = <0>;
            key-positions = <3 4>;
            bindings = <&three_fourths>;
        };

        combo_three_eighths {
            timeout-ms = <20>;
            layers = <0>;
            key-positions = <3 8>;
            bindings = <&three_eighths>;
        };

        combo_five_eighths {
            timeout-ms = <20>;
            layers = <0>;
            key-positions = <5 8>;
            bindings = <&five_eighths>;
        };

        combo_seven_eighths {
            timeout-ms = <20>;
            layers = <0>;
            key-positions = <7 8>;
            bindings = <&seven_eighths>;
        };

        // Operators

        combo_less_equal {
            timeout-ms = <200>;
            layers = <2>;
            key-positions = <15 37>;
            bindings = <&less_equ>;
        };

        combo_gtr_equal {
            timeout-ms = <200>;
            layers = <2>;
            key-positions = <16 37>;
            bindings = <&gtr_equ>;
        };

        combo_not_equal {
            timeout-ms = <200>;
            layers = <2>;
            key-positions = <25 37>;
            bindings = <&not_equ>;
        };

        combo_almost_equal {
            timeout-ms = <200>;
            layers = <2>;
            key-positions = <14 37>;
            bindings = <&alm_equ>;
        };
    };
};

/ {
    // Activate ADJUST layer by pressing raise and lower

    conditional_layers {
        compatible = "zmk,conditional-layers";

        adjust_layer {
            if-layers = <LOWER RAISE>;
            then-layer = <ADJUST>;
        };
    };

    keymap {
        compatible = "zmk,keymap";

        default_layer {
            label = "default";

            // ------------------------------------------------------------------------------------------------------------
            // |   `   |  1  |  2  |  3   |  4   |  5   |                   |  6   |  7    |  8    |  9   |   0   |       |
            // |  ESC  |  Q  |  W  |  E   |  R   |  T   |                   |  Y   |  U    |  I    |  O   |   P   | BKSPC |
            // |  TAB  |  A  |  S  |  D   |  F   |  G   |                   |  H   |  J    |  K    |  L   |   ;   |   '   |
            // | SHIFT |  Z  |  X  |  C   |  V   |  B   |  MUTE  |  |       |  N   |  M    |  ,    |  .   |   /   | SHIFT |
            //               | GUI | ALT  | CTRL | LOWER|  ENTER |  | SPACE | RAISE| CTRL  | ALT   | GUI  |

            bindings = <
&kp ESCAPE      &kp N1  &kp N2    &kp N3               &kp N4     &kp N5                                &kp N6     &kp N7                   &kp N8            &kp N9             &kp N0    &none
&kp TAB         &kp Q   &kp W     &kp E                &kp R      &kp T                                 &kp Y      &kp U                    &kp I             &kp O              &kp P     &kp BSPC
&kp LEFT_SHIFT  &kp A   &kp S     &kp D                &kp F      &kp G                                 &kp H      &kp J                    &kp K             &kp L              &kp SEMI  &kp SQT
&kp LCTRL       &kp Z   &kp X     &kp C                &kp V      &kp B      &close_tab    &kp K_MUTE   &kp N      &kp M                    &kp COMMA         &kp DOT            &kp FSLH  &kp RET
                        &kp LALT  &pasteTextWordPower  &lwin_cad  &mo LOWER  &kp SPACE     &spaceEnter  &mo RAISE  &snipPrintScreenWindows  &kp LEFT_BRACKET  &kp RIGHT_BRACKET
            >;

            sensor-bindings =
                <&inc_dec_kp UP_ARROW DOWN_ARROW>,
                <&inc_dec_kp RIGHT LEFT_ARROW>;
        };

        lower_layer {
            label = "lower";

            // TODO: Some binds are waiting for shifted keycode support.
            // ------------------------------------------------------------------------------------------------------------
            // |       |  F1 |  F2 |  F3  |  F4  |  F5  |                   |  F6  |  F7   |  F8   |  F9  |  F10  |  F11  |
            // |   `   |  1  |  2  |  3   |  4   |  5   |                   |  6   |  7    |  8    |  9   |   0   |  F12  |
            // |       |  !  |  @  |  #   |  $   |  %   |                   |  ^   |  &    |  *    |  (   |   )   |   |   |
            // |       |  =  |  -  |  +   |  {   |  }   |        |  |       |  [   |  ]    |  ;    |  :   |   \   |       |
            //               |     |      |      |      |        |  |       |      |       |       |      |

            bindings = <
&trans     &kp F1     &kp F2     &kp F3       &kp F4    &kp F5                       &kp F6     &kp F7    &kp F8           &kp F9     &kp F10   &kp F11
&kp GRAVE  &kp N1     &kp N2     &kp N3       &kp N4    &kp N5                       &kp N6     &kp N7    &kp N8           &kp N9     &kp N0    &kp F12
&trans     &kp EXCL   &kp AT     &kp HASH     &kp DLLR  &kp PRCNT                    &kp CARET  &kp AMPS  &kp KP_MULTIPLY  &kp LPAR   &kp RPAR  &kp PIPE
&trans     &kp EQUAL  &kp MINUS  &kp KP_PLUS  &kp LBRC  &kp RBRC   &trans    &trans  &kp LBKT   &kp RBKT  &kp SEMI         &kp COLON  &kp BSLH  &trans
                      &trans     &trans       &trans    &trans     &trans    &trans  &trans     &trans    &trans           &trans
            >;

            sensor-bindings = <&inc_dec_kp C_VOL_UP C_VOL_DN &inc_dec_kp PG_UP PG_DN>;
        };

        raise_layer {
            label = "raise";

            // ------------------------------------------------------------------------------------------------------------
            // | BTCLR | BT1  | BT2  |  BT3  |  BT4  |  BT5 |                |      |      |       |      |       |       |
            // |       | INS  | PSCR | GUI   |       |      |                | PGUP |      |   ^   |      |       |       |
            // |       | ALT  | CTRL | SHIFT |       | CAPS |                | PGDN |   <- |   v   |  ->  |  DEL  | BKSPC |
            // |       | UNDO | CUT  | COPY  | PASTE |      |      |  |      |      |      |       |      |       |       |
            //                |      |       |       |      |      |  |      |      |      |       |      |

            bindings = <
&bt BT_CLR  &bt BT_SEL 0  &bt BT_SEL 1  &bt BT_SEL 2  &bt BT_SEL 3  &bt BT_SEL 4                    &trans     &trans    &trans    &trans     &trans   &trans
&trans      &kp INS       &kp PSCRN     &kp K_CMENU   &trans        &trans                          &kp PG_UP  &trans    &kp UP    &trans     &kp N0   &trans
&trans      &kp LALT      &kp LCTRL     &kp LSHFT     &trans        &kp CLCK                        &kp PG_DN  &kp LEFT  &kp DOWN  &kp RIGHT  &kp DEL  &kp BSPC
&trans      &kp K_UNDO    &kp K_CUT     &kp K_COPY    &kp K_PASTE   &trans        &trans    &trans  &trans     &trans    &trans    &trans     &trans   &trans
                          &trans        &trans        &trans        &trans        &trans    &trans  &trans     &trans    &trans    &trans
            >;

            sensor-bindings = <&inc_dec_kp C_VOL_UP C_VOL_DN &inc_dec_kp PG_UP PG_DN>;
        };

        adjust_layer {
            // ----------------------------------------------------------------------------------------------------------------------------
            // | BTCLR  |  BT1    |  BT2    |   BT3   |   BT4   |   BT5   |                  |      |      |       |      |       |       |
            // | EXTPWR | RGB_HUD | RGB_HUI | RGB_SAD | RGB_SAI | RGB_EFF |                  |      |      |       |      |       |       |
            // |        | RGB_BRD | RGB_BRI |         |         |         |                  |      |      |       |      |       |       |
            // |        |         |         |         |         |         | RGB_TOG | |      |      |      |       |      |       |       |
            //                    |         |         |         |         |         | |      |      |      |       |      |

            label = "adjust";
            bindings = <
&bt BT_CLR         &bt BT_SEL 0     &bt BT_SEL 1     &bt BT_SEL 2     &bt BT_SEL 3     &bt BT_SEL 4                               &none  &none  &none  &none  &none  &none
&ext_power EP_TOG  &rgb_ug RGB_HUD  &rgb_ug RGB_HUI  &rgb_ug RGB_SAD  &rgb_ug RGB_SAI  &rgb_ug RGB_EFF                            &none  &none  &none  &none  &none  &none
&none              &rgb_ug RGB_BRD  &rgb_ug RGB_BRI  &none            &none            &none                                      &none  &none  &none  &none  &none  &none
&none              &none            &none            &none            &none            &none            &rgb_ug RGB_TOG    &none  &none  &none  &none  &none  &none  &none
                                    &none            &none            &none            &none            &none              &none  &none  &none  &none  &none
            >;
        };
    };
};
